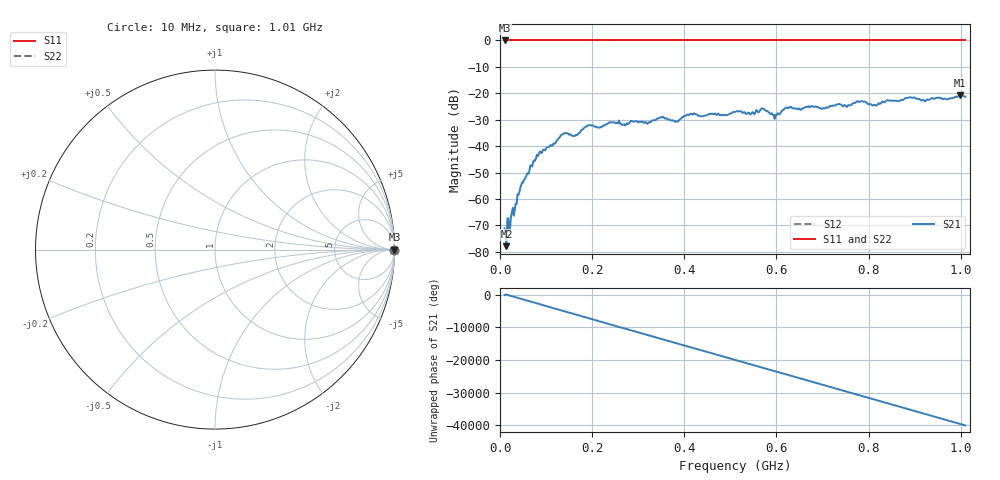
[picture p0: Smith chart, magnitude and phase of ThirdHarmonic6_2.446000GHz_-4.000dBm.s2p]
! 8/17/2025 4:20:08 AM
! C:\ANRITSUVNA\TEMP\TEMP.S2P
! CHANNEL.1
! TR.MEASUREMENT
! RAW.DATA
! RF.CORRECTION.OFF
! AVERAGING.OFF
! IF.BANDWIDTH: 5KHZ
! SWEEPTYPE:  FREQ.SWEEP(Linear)
! Reference Plane Port Info
! PORT:  PORT1  PORT2
! DISTANCE:  0  m  0  m
! TIME:  0  s  0  s
! PHASE.OFFSET:  0  deg.  0  deg.
! LOSS:  0  dB  0  dB
! REF.LOSS:  0  dB  0  dB
! REF.FREQ:  0  Hz  0  Hz
! Power Info
! POWER:  -20  dBm  -20  dBm
! EFF.POWER:  -20  dBm  -20  dBm
! SOURCE.ATTEN:  0  dB  0  dB
! TEST.ATTEN:  0  dB  0  dB
# GHZ S RI R 50.0
! FREQ.GHZ  S11RE  S11IM  S21RE  S21IM  S12RE  S12IM  S22RE  S22IM
!; PortSelection: Port_12
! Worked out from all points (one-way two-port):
!   501 points, 10 MHz to 1.01 GHz, reference 50 ohm
!   highest |S21| = -20.70 dB at 998 MHz (marker M1); lowest = -77.8 dB at 14 MHz (marker M2)
!   lowest |S11| = 0.0 dB at 10 MHz (marker M3)
!   |S11| at or under -10 dB: nowhere
!   |S22| runs from 0.0 to 0.0 dB; largest |S21 - S12| = 1.1
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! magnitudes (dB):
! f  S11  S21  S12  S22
! 10 MHz  0.0  -71.1  0.0  0.0
! 14 MHz  0.0  -77.8  0.0  0.0
! 18 MHz  0.0  -67.2  0.0  0.0
! 48 MHz  0.0  -53.7  0.0  0.0
! 84 MHz  0.0  -43.0  0.0  0.0
! 136 MHz  0.0  -35.5  0.0  0.0
! 162 MHz  0.0  -36.2  0.0  0.0
! 178 MHz  0.0  -33.8  0.0  0.0
! 194 MHz  0.0  -32.0  0.0  0.0
! 344 MHz  0.0  -29.5  0.0  0.0
! 382 MHz  0.0  -30.6  0.0  0.0
! 416 MHz  0.0  -28.0  0.0  0.0
! 510 MHz  0.0  -26.9  0.0  0.0
! 570 MHz  0.0  -25.7  0.0  0.0
! 596 MHz  0.0  -29.7  0.0  0.0
! 624 MHz  0.0  -25.6  0.0  0.0
! 678 MHz  0.0  -24.9  0.0  0.0
! 786 MHz  0.0  -23.0  0.0  0.0
! 814 MHz  0.0  -24.5  0.0  0.0
! 844 MHz  0.0  -22.8  0.0  0.0
! 998 MHz  0.0  -20.7  0.0  0.0
! 1.01 GHz  0.0  -21.3  0.0  0.0
